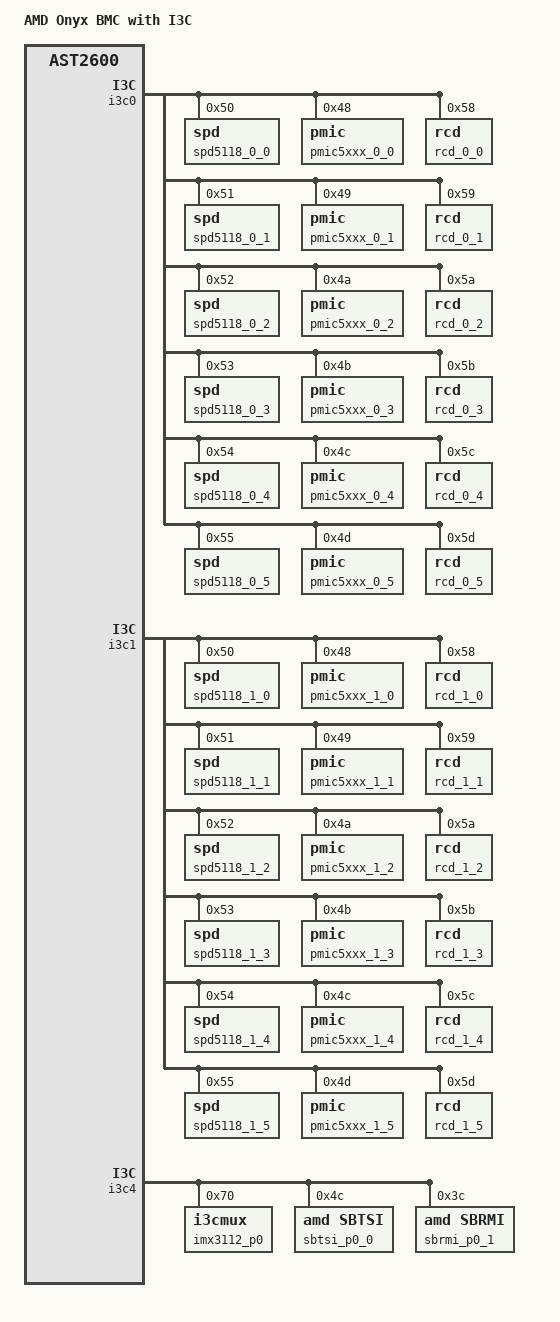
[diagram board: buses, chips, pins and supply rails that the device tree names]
// SPDX-License-Identifier: GPL-2.0+
// Copyright (c) 2021 - 2024 AMD Inc.
// Author: Supreeth Venkatesh <supreeth.venkatesh@amd.com>

/dts-v1/;

#include "ast2600-amd-bmc-common.dtsi"

/ {
	model = "AMD Onyx BMC with I3C";
	compatible = "amd,onyx-bmc", "aspeed,ast2600";
};

#include <dt-bindings/i3c/i3c.h>

&i3c0 {
        // P0 DIMM (A-F) SPD Access
        status = "okay";
        bus-context = /bits/ 8 <I3C_BUS_CONTEXT_JESD403>;
	i2c-scl-hz = <100000>;
        i3c-scl-hz = <2000000>;

        //DIMM A
        spd5118_0_0: spd@50,3C000000000 {
                reg = <0x50 0x3C0 0x00000000>;
                assigned-address = <0x50>;
        };
	pmic5xxx_0_0: pmic@48,20400000000 {
                reg = <0x48 0x204 0x00000000>;
                assigned-address = <0x48>;
        };
        rcd_0_0: rcd@58,2C000000000 {
                reg = <0x58 0x2C0 0x00000000>;
                assigned-address = <0x58>;
        };
        //DIMM B
        spd5118_0_1: spd@51,3C000000001 {
                reg = <0x51 0x3C0 0x00000001>;
                assigned-address = <0x51>;
        };
        pmic5xxx_0_1: pmic@49,20400000001 {
                reg = <0x49 0x204 0x00000001>;
                assigned-address = <0x49>;
        };
        rcd_0_1: rcd@59,2C000000001 {
                reg = <0x59 0x2C0 0x00000001>;
                assigned-address = <0x59>;
        };
        //DIMM C
        spd5118_0_2: spd@52,3C000000002 {
                reg = <0x52 0x3C0 0x00000002>;
                assigned-address = <0x52>;
        };
        pmic5xxx_0_2: pmic@4a,20400000002 {
                reg = <0x4a 0x204 0x00000002>;
                assigned-address = <0x4a>;
        };
        rcd_0_2: rcd@5a,2C000000002 {
                reg = <0x5a 0x2C0 0x00000002>;
                assigned-address = <0x5a>;
        };
        //DIMM D
        spd5118_0_3: spd@53,3C000000003 {
                reg = <0x53 0x3C0 0x00000003>;
                assigned-address = <0x53>;
        };
        pmic5xxx_0_3: pmic@4b,20400000003 {
                reg = <0x4b 0x204 0x00000003>;
                assigned-address = <0x4b>;
        };
        rcd_0_3: rcd@5b,2C000000003 {
                reg = <0x5b 0x2C0 0x00000003>;
                assigned-address = <0x5b>;
        };
        //DIMM E
        spd5118_0_4: spd@54,3C000000004 {
                reg = <0x54 0x3C0 0x00000004>;
                assigned-address = <0x54>;
        };
        pmic5xxx_0_4: pmic@4c,20400000004 {
                reg = <0x4c 0x204 0x00000004>;
                assigned-address = <0x4c>;
        };
        rcd_0_4: rcd@5c,2C000000004 {
                reg = <0x5c 0x2C0 0x00000004>;
                assigned-address = <0x5c>;
        };
        //DIMM F
        spd5118_0_5: spd@55,3C000000005 {
                reg = <0x55 0x3C0 0x00000005>;
                assigned-address = <0x55>;
        };
        pmic5xxx_0_5: pmic@4d,20400000005 {
                reg = <0x4d 0x204 0x00000005>;
                assigned-address = <0x4d>;
        };
        rcd_0_5: rcd@5d,2C000000005 {
                reg = <0x5d 0x2C0 0x00000005>;
                assigned-address = <0x5d>;
        };
};

&i3c1 {
        // P0 DIMM (A-F) SPD Access
        status = "okay";
        bus-context = /bits/ 8 <I3C_BUS_CONTEXT_JESD403>;
	i2c-scl-hz = <100000>;
        i3c-scl-hz = <2000000>;

        //DIMM G
        spd5118_1_0: spd@50,3C000000000 {
                reg = <0x50 0x3C0 0x00000000>;
                assigned-address = <0x50>;
        };
	pmic5xxx_1_0: pmic@48,20400000000 {
                reg = <0x48 0x204 0x00000000>;
                assigned-address = <0x48>;
        };
        rcd_1_0: rcd@58,2C000000000 {
                reg = <0x58 0x2C0 0x00000000>;
                assigned-address = <0x58>;
        };
        //DIMM H
        spd5118_1_1: spd@51,3C000000001 {
                reg = <0x51 0x3C0 0x00000001>;
                assigned-address = <0x51>;
        };
        pmic5xxx_1_1: pmic@49,20400000001 {
                reg = <0x49 0x204 0x00000001>;
                assigned-address = <0x49>;
        };
        rcd_1_1: rcd@59,2C000000001 {
                reg = <0x59 0x2C0 0x00000001>;
                assigned-address = <0x59>;
        };
        //DIMM I
        spd5118_1_2: spd@52,3C000000002 {
                reg = <0x52 0x3C0 0x00000002>;
                assigned-address = <0x52>;
        };
        pmic5xxx_1_2: pmic@4a,20400000002 {
                reg = <0x4a 0x204 0x00000002>;
                assigned-address = <0x4a>;
        };
        rcd_1_2: rcd@5a,2C000000002 {
                reg = <0x5a 0x2C0 0x00000002>;
                assigned-address = <0x5a>;
        };
        //DIMM J
        spd5118_1_3: spd@53,3C000000003 {
                reg = <0x53 0x3C0 0x00000003>;
                assigned-address = <0x53>;
        };
        pmic5xxx_1_3: pmic@4b,20400000003 {
                reg = <0x4b 0x204 0x00000003>;
                assigned-address = <0x4b>;
        };
        rcd_1_3: rcd@5b,2C000000003 {
                reg = <0x5b 0x2C0 0x00000003>;
                assigned-address = <0x5b>;
        };
        //DIMM K
        spd5118_1_4: spd@54,3C000000004 {
                reg = <0x54 0x3C0 0x00000004>;
                assigned-address = <0x54>;
        };
        pmic5xxx_1_4: pmic@4c,20400000004 {
                reg = <0x4c 0x204 0x00000004>;
                assigned-address = <0x4c>;
        };
        rcd_1_4: rcd@5c,2C000000004 {
                reg = <0x5c 0x2C0 0x00000004>;
                assigned-address = <0x5c>;
        };
        //DIMM L
        spd5118_1_5: spd@55,3C000000005 {
                reg = <0x55 0x3C0 0x00000005>;
                assigned-address = <0x55>;
        };
        pmic5xxx_1_5: pmic@4d,20400000005 {
                reg = <0x4d 0x204 0x00000005>;
                assigned-address = <0x4d>;
        };
        rcd_1_5: rcd@5d,2C000000005 {
                reg = <0x5d 0x2C0 0x00000005>;
                assigned-address = <0x5d>;
        };
 };

&i3c4 {
        // P0 APML
        status = "okay";
        bus-context = /bits/ 8 <I3C_BUS_CONTEXT_JESD403>;
        bus_id = <0x04>;

        imx3112_p0: i3cmux@70,4CC00000000 {
                reg = <0x70 0x4CC 0x00000000>;
                assigned-address = <0x70>;
        };
        sbtsi_p0_0: sbtsi@4c,22400000001 {
                compatible = "amd,sbtsi";
                reg = <0x4c 0x224 0x00000001>;
                assigned-address = <0x4c>;
        };
        sbrmi_p0_1: sbrmi@3c,22400000002 {
                compatible = "amd,sbrmi";
                reg = <0x3c 0x224 0x00000002>;
                assigned-address = <0x3c>;
        };
};
